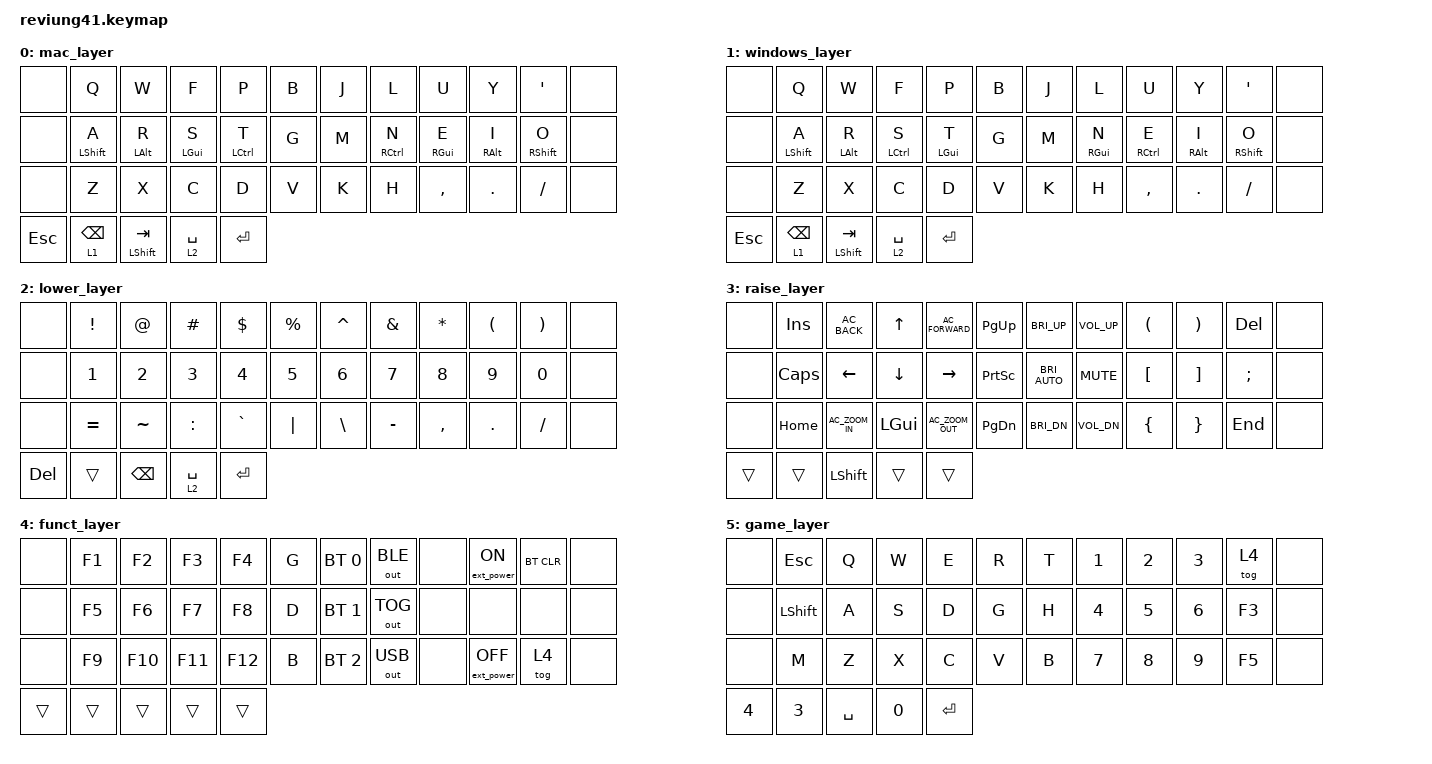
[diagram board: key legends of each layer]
/*
 * Copyright (c) 2020 The ZMK Contributors
 *
 * SPDX-License-Identifier: MIT
 */

#include <behaviors.dtsi>
#include <dt-bindings/zmk/keys.h>
#include <dt-bindings/zmk/bt.h>
#include <dt-bindings/zmk/outputs.h>
#include <dt-bindings/zmk/ext_power.h>

#define COMBO_TIMEOUT 60
#define FAST_COMBO_TIMEOUT 35

&mt {
  compatible = "zmk,behavior-hold-tap";
  tapping-term-ms = <100>;
  quick_tap_ms = <200>;
  flavor = "balanced";
};

&lt {
  compatible = "zmk,behavior-hold-tap";
  tapping-term-ms = <110>;
  quick_tap_ms = <200>;
  flavor = "balanced";
};
/ {
    conditional_layers {
        compatible = "zmk,conditional-layers";
        tri_layer {
            if-layers = <1 2>;
            then-layer = <3>;
        };
    };
    behaviors {
        gte_ptr: greater_than_equal_pointer {
            compatible = "zmk,behavior-mod-morph";
            label = "GTE_RPTR";
            #binding-cells = <0>;
            bindings = <&gte>, <&rptr>;
            mods = <(MOD_LSFT|MOD_RSFT)>;
        };
    };
};
/ {
    macros {
        line_left: line_left {
            label = "go_line_left";
            compatible = "zmk,behavior-macro";
            #binding-cells = <0>;
            bindings
                = <&macro_press &kp LCTRL>
                , <&macro_tap &kp LEFT>
                , <&macro_release &kp LCTRL>
                ;
        };
        line_right: line_right {
            label = "go_line_right";
            compatible = "zmk,behavior-macro";
            #binding-cells = <0>;
            bindings
                = <&macro_press &kp LCTRL>
                , <&macro_tap &kp RIGHT>
                , <&macro_release &kp LCTRL>
                ;
        };
        lte: lte {
            label = "less_than_equal";
            compatible = "zmk,behavior-macro";
            #binding-cells = <0>;
            bindings
                = <&macro_tap &kp LT>
                , <&macro_tap &kp EQUAL>
                ;
        };
        rptr: rptr {
          label = "right_pointer";
          compatible = "zmk,behavior-macro";
          #binding-cells = <0>;
          bindings 
              = <&macro_release &kp LSFT>
              , <&macro_tap &kp MINUS>
              , <&macro_tap &kp GT>
              ;
        };
        gte: gte {
            label = "greater_than_equal";
            compatible = "zmk,behavior-macro";
            #binding-cells = <0>;
            bindings
                = <&macro_tap &kp GT>
                , <&macro_tap &kp EQUAL>
                ;
        };
    };
};
/ {
    combos {
        compatible = "zmk,combos";
        combo_equal {
            timeout-ms = <COMBO_TIMEOUT>;
            key-positions = <1 2>;
            bindings = <&kp EQUAL>;
            layers = <0>;
        };
        combo_minus {
            timeout-ms = <COMBO_TIMEOUT>;
            key-positions = <9 10>;
            bindings = <&kp MINUS>;
            layers = <0>;
        };
        combo_plus {
            timeout-ms = <COMBO_TIMEOUT>;
            key-positions = <2 3>;
            bindings = <&kp PLUS>;
            layers = <0>;
        };
        combo_under {
            timeout-ms = <COMBO_TIMEOUT>;
            key-positions = <8 9>;
            bindings = <&kp UNDER>;
            layers = <0>;
        };
        combo_tab {
            timeout-ms = <COMBO_TIMEOUT>;
            key-positions = <13 25>;
            bindings = <&kp TAB>;
            layers = <0>;
        };
        combo_semi {
            timeout-ms = <COMBO_TIMEOUT>;
            key-positions = <22 34>;
            bindings = <&kp SEMI>;
            layers = <0 1>;
        };
        combo_line_left {
            timeout-ms = <COMBO_TIMEOUT>;
            key-positions = <1 13>;
            bindings = <&line_left>;
            layers = <0>;
        };
        combo_line_right {
            timeout-ms = <COMBO_TIMEOUT>;
            key-positions = <10 22>;
            bindings = <&line_right>;
            layers = <0>;
        };
        combo_lbrc {
            timeout-ms = <COMBO_TIMEOUT>;
            key-positions = <25 26>;
            bindings = <&kp LBRC>;
            layers = <0>;
        };
        combo_rbrc {
            timeout-ms = <FAST_COMBO_TIMEOUT>;
            key-positions = <33 34>;
            bindings = <&kp RBRC>;
            layers = <0>;
        };
        combo_lbkt {
            timeout-ms = <COMBO_TIMEOUT>;
            key-positions = <27 28>;
            bindings = <&kp LBKT>;
            layers = <0>;
        };
        combo_rbkt {
            timeout-ms = <COMBO_TIMEOUT>;
            key-positions = <31 32>;
            bindings = <&kp RBKT>;
            layers = <0>;
        };
        combo_lpar {
            timeout-ms = <COMBO_TIMEOUT>;
            key-positions = <26 27>;
            bindings = <&kp LPAR>;
            layers = <0>;
        };
        combo_rpar {
            timeout-ms = <COMBO_TIMEOUT>;
            key-positions = <32 33>;
            bindings = <&kp RPAR>;
            layers = <0>;
        };
        combo_lte {
            timeout-ms = <COMBO_TIMEOUT>;
            key-positions = <28 29>;
            bindings = <&lte>;
            layers = <0>;
        };
        combo_gte {
            timeout-ms = <COMBO_TIMEOUT>;
            key-positions = <30 31>;
            bindings = <&gte_ptr>;
            layers = <0>;
        };
        combo_left {
            timeout-ms = <COMBO_TIMEOUT>;
            key-positions = <18 30>;
            bindings = <&kp LEFT>;
            layers = <0>;
        };
        combo_up {
            timeout-ms = <COMBO_TIMEOUT>;
            key-positions = <19 31>;
            bindings = <&kp UP>;
            layers = <0>;
        };
        combo_down {
            timeout-ms = <COMBO_TIMEOUT>;
            key-positions = <20 32>;
            bindings = <&kp DOWN>;
            layers = <0>;
        };
        combo_right {
            timeout-ms = <COMBO_TIMEOUT>;
            key-positions = <21 33>;
            bindings = <&kp RIGHT>;
            layers = <0>;
        };
    };
};
/ {
  behaviors {
    hm: homerow_mods {
      compatible = "zmk,behavior-hold-tap";
      label = "HOMEROW_MODS";
      #binding-cells = <2>;
      flavor = "balanced";
      tapping-term-ms = <200>;
      quick-tap-ms = <150>;
      global-quick-tap;
      bindings = <&kp>, <&kp>;
    };
  };
  keymap {
   compatible = "zmk,keymap";

   mac_layer {
    // -------------------------------------------------------------------------------------
    // | XXX |  Q  =  W  |  F  |  P  |  B  |  |  J  |  L  |  U  |  Y  -  '  | XXX |
    // | XXX |  A  |  R  |  S  |  T  |  G  |  |  M  |  N  |  E  |  I  |  O  | XXX |
    // | XXX |  Z  [  X  |  C  |  V  |  V  |  |  K  |  H  |  ,  |  .  ]  /  | XXX |
    //      | ESC/+ | LWR(BSPC/DEL) | LSFT | RSE(SPC/TAB)  | RET/_ |
    bindings = <
      &none &kp Q       &kp W      &kp F      &kp P       &kp B  &kp J &kp L       &kp U      &kp Y      &kp SQT     &none
      &none &hm LSHFT A &hm LALT R &hm LGUI S &hm LCTRL T &kp G  &kp M &hm RCTRL N &hm RGUI E &hm RALT I &hm RSHFT O &none
      &none &kp Z       &kp X      &kp C      &kp D       &kp V  &kp K &kp H       &kp COMMA  &kp DOT    &kp FSLH    &none
      &kp ESC &lt 1 BKSP &mt LSHFT TAB &lt 2 SPACE &kp RET
      >;
    };
    windows_layer {
    // -------------------------------------------------------------------------------------
    // | XXX |  Q  =  W  |  F  |  P  |  B  |  |  J  |  L  |  U  |  Y  -  '  | XXX |
    // | XXX |  A  |  R  |  S  |  T  |  G  |  |  M  |  N  |  E  |  I  |  O  | XXX |
    // | XXX |  Z  [  X  |  C  |  V  |  V  |  |  K  |  H  |  ,  |  .  ]  /  | XXX |
    //      | ESC/+ | LWR(BSPC/DEL) | LSFT | RSE(SPC/TAB)  | RET/_ |
    bindings = <
      &none &kp Q       &kp W      &kp F       &kp P      &kp B  &kp J &kp L       &kp U       &kp Y      &kp SQT     &none
      &none &hm LSHFT A &hm LALT R &hm LCTRL S &hm LGUI T &kp G  &kp M &hm RGUI N  &hm RCTRL E &hm RALT I &hm RSHFT O &none
      &none &kp Z       &kp X      &kp C       &kp D      &kp V  &kp K &kp H       &kp COMMA   &kp DOT    &kp FSLH    &none
      &kp ESC &lt 1 BKSP &mt LSHFT TAB &lt 2 SPACE &kp RET
      >;
    };

   lower_layer {
    // -----------------------------------------------------------------------------
    // | XXX |  !  |  @  |  #  |  $  |  %  |  |  %  |  &  |  *  |  (  |  )  | XXX |
    // | XXX |  1  |  2  |  3  |  4  |  5  |  |  6  |  7  |  8  |  9  |  0  | XXX |
    // | XXX |  =  |  ~  |  :  |  `  |  |  |  |  \  |  -  |  ,  |  .  |  /  | XXX |
    //         |  DEL  |  TRANS  |  BKSP  | MOSPACE |  RET  |
    bindings = <
      &none &kp EXCL  &kp AT    &kp HASH  &kp DLLR  &kp PRCNT  &kp CARET &kp AMPS  &kp STAR  &kp LPAR &kp RPAR &none
      &none &kp N1    &kp N2    &kp N3    &kp N4    &kp N5     &kp N6    &kp N7    &kp N8    &kp N9   &kp N0   &none
      &none &kp EQUAL &kp TILDE &kp COLON &kp GRAVE &kp PIPE  &kp BSLH   &kp MINUS &kp COMMA &kp DOT  &kp FSLH &none
      &kp DEL    &trans  &kp BKSP  &lt 2 SPACE &kp RET
      >;
   };

   raise_layer {
    // -----------------------------------------------------------------------------------------
    // | XXX | INS  | BACK |  UP  |  FWD | PGUP |  | BRI+ |  VOL+ | (  |  )  | DEL | XXX |
    // | XXX | CAPS | LEFT | DOWN | RGHT | PRSC |  | AUTO |  MUTE | [  |  ]  |  ;  | XXX |
    // | XXX | HOME | Z IN | LGUI | ZOUT | PGDN |  | BRI- |  VOL- | {  |  }  | END | XXX |
    //          |   |   | SHIFT |  |   |
    bindings = <
      &none &kp INS  &kp C_AC_BACK  &kp UP  &kp C_AC_FORWARD  &kp PG_UP &kp C_BRI_UP  &kp C_VOL_UP &kp LPAR &kp RPAR  &kp DEL  &none
      &none &kp CAPS &kp LEFT    &kp DOWN &kp RIGHT    &kp PSCRN &kp C_BRI_AUTO &kp C_MUTE  &kp LBKT &kp RBKT  &kp SEMI &none
      &none &kp HOME &kp C_AC_ZOOM_IN &kp LGUI &kp C_AC_ZOOM_OUT &kp PG_DN &kp C_BRI_DN  &kp C_VOL_DN &kp LBRC &kp RBRC  &kp END  &none
      &trans    &trans  &kp LSHFT  &trans      &trans
      >;
   };

   funct_layer {
    // -----------------------------------------------------------------------------------------
    // | XXX | F1 | F2  | F3  | F4  | G |  | BT1 | BLE     | XXX | EP ON |  LGAME  | XXX |
    // | XXX | F5 | F6  | F7  | F8  | D |  | BT2 | OUT TOG | XXX |  XXX  |   XXX   | XXX |
    // | XXX | F9 | F10 | F11 | F12 | B |  | BT3 | USB     | XXX | EPOFF | BLE_RST | XXX |
    //          | XXX | XXX | XXX | XXX | XXX |
    bindings = <
      &none &kp F1 &kp F2  &kp F3  &kp F4  &kp G &bt BT_SEL 0 &out OUT_BLE &none &ext_power EP_ON  &bt BT_CLR &none
      &none &kp F5 &kp F6  &kp F7  &kp F8  &kp D &bt BT_SEL 1 &out OUT_TOG &none &none             &none      &none
      &none &kp F9 &kp F10 &kp F11 &kp F12 &kp B &bt BT_SEL 2 &out OUT_USB &none &ext_power EP_OFF &tog 4     &none
      &trans   &trans    &trans    &trans   &trans
      >;
   };  

   game_layer {
    // -----------------------------------------------------------------------------------------
    // | XXX | ESC   | Q | W | E | R |  | T | 1 | 2 | 3 | GAME | XXX |
    // | XXX | LSHFT | A | S | D | G |  | H | 4 | 5 | 6 |  F3  | XXX |
    // | XXX | M     | Z | X | C | V |  | B | 7 | 8 | 9 |  F5  | XXX |
    //          | 4 | 3 | SPC | 0 | ENT |
    bindings = <
      &none &kp ESC   &kp Q &kp W &kp E &kp R &kp T &kp N1 &kp N2 &kp N3 &tog 4 &none
      &none &kp LSHFT &kp A &kp S &kp D &kp G &kp H &kp N4 &kp N5 &kp N6 &kp F3 &none
      &none &kp M     &kp Z &kp X &kp C &kp V &kp B &kp N7 &kp N8 &kp N9 &kp F5 &none
      &kp N4          &kp N3      &kp SPACE   &kp N0       &kp RET
      >;
    };
  };
};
